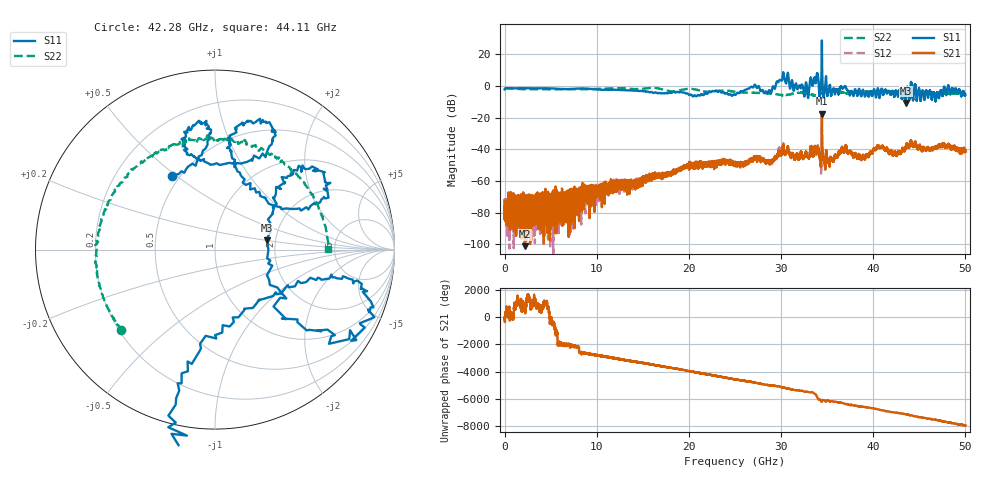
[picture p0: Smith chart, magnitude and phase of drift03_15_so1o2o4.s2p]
!Created with skrf (http://scikit-rf.org).
# Hz S RI R 50.0
!freq ReS11 ImS11 ReS21 ImS21 ReS12 ImS12 ReS22 ImS22
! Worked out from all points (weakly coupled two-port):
!   10000 points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, 5.3 MHz to 50 GHz, reference 50 ohm
!   highest |S21| = -17.50 dB at 34.43 GHz (marker M1); lowest = -101.3 dB at 2.2 GHz (marker M2)
!   lowest |S11| = -10.7 dB at 43.52 GHz (marker M3), VSWR 1.83, Z = 89.6 + j10.2 ohm
!   |S11| at or under -10 dB: 43.50672 GHz to 43.54203 GHz (35.31 MHz wide, 0.0811 % of centre)
!   |S22| runs from -5.8 to -1.1 dB; largest |S21 - S12| = 0.035
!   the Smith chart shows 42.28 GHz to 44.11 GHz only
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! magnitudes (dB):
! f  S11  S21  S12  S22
! 5.3 MHz  -2.1  -80.9  -79.6  -1.3
! 575.3 MHz  -1.4  -76.9  -73.9  -1.4
! 2.2 GHz  -1.3  -101.3  -77.6  -2.0
! 8.34 GHz  -1.5  -71.1  -73.7  -2.1
! 16.67 GHz  -4.4  -57.2  -57.4  -1.5
! 20.09 GHz  -5.6  -50.5  -50.4  -1.7
! 25.01 GHz  -5.5  -48.5  -49.3  -3.5
! 27.02 GHz  -0.4  -45.6  -45.5  -4.2
! 28.72 GHz  -2.5  -47.8  -48.0  -4.6
! 30.14 GHz  4.4  -40.5  -40.6  -5.7
! 32.74 GHz  2.0  -41.9  -42.0  -4.6
! 33.34 GHz  2.5  -39.8  -40.4  -5.6
! 33.82 GHz  3.9  -41.1  -42.7  -5.7
! 34.43 GHz  28.8  -17.5  -18.7  -4.6
! 35.3 GHz  0.7  -47.5  -46.3  -3.4
! 36.86 GHz  -0.5  -41.4  -41.3  -4.2
! 38.87 GHz  -2.5  -44.4  -44.0  -3.2
! 40.59 GHz  -3.9  -38.2  -38.1  -4.0
! 41.67 GHz  -3.3  -41.9  -42.6  -3.4
! 43.52 GHz  -10.7  -38.9  -39.2  -4.2
! 47.49 GHz  -5.8  -38.0  -37.5  -4.9
! 50 GHz  -5.3  -41.5  -40.0  -4.6
